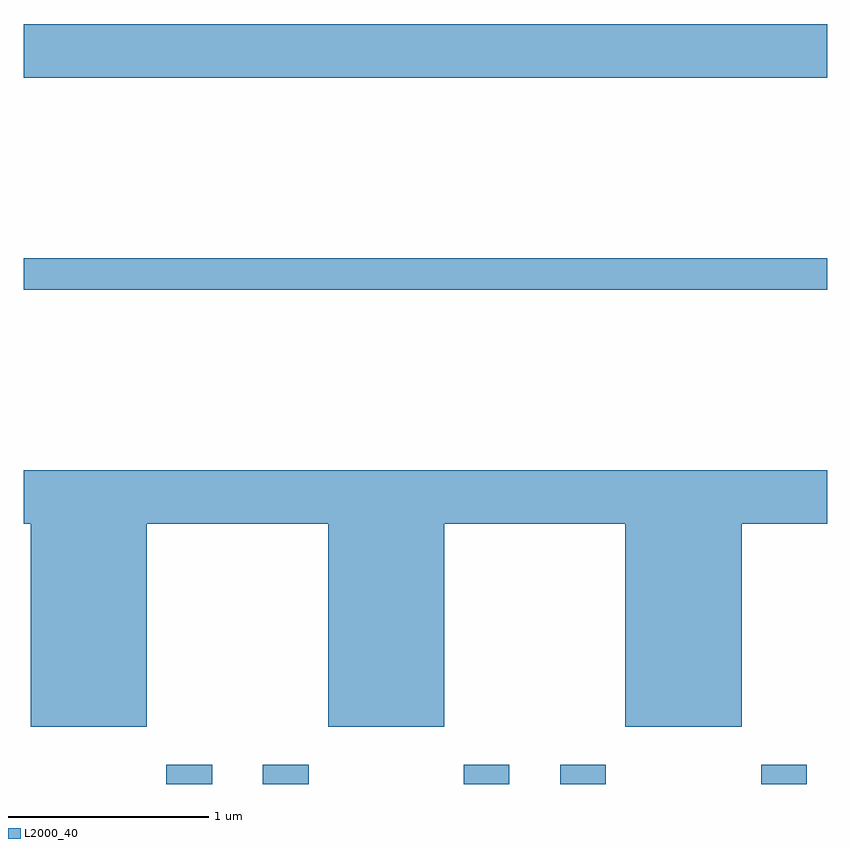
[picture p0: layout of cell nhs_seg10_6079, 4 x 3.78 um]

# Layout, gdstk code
import gdstk
lib = gdstk.Library(unit=1e-6, precision=1e-09)
def R(c, l, rs):  # rectangles x0, y0, x1, y1
    for r in rs: c.add(gdstk.rectangle(r[:2], r[2:], *l))
def P(c, l, *ps):  # polygons
    for p in ps: c.add(gdstk.Polygon(p, *l))
L2000_40 = (2000, 40)

nhs_seg10_6079 = lib.new_cell('nhs_seg10_6079')
R(nhs_seg10_6079, L2000_40, [(364.321,2212.522,364.549,2212.619), (364.801,2212.522,365.029,2212.619), (365.801,2212.522,366.029,2212.619), (366.281,2212.522,366.509,2212.619), (367.281,2212.522,367.509,2212.619), (363.611,2214.981,367.611,2215.139), (363.611,2216.036,367.611,2216.304)])
P(nhs_seg10_6079, L2000_40, [(363.611,2213.816),(363.646,2213.816),(363.646,2212.806),(364.224,2212.806),(364.224,2213.816),(365.126,2213.816),(365.126,2212.806),(365.704,2212.806),(365.704,2213.816),(366.606,2213.816),(366.606,2212.806),(367.184,2212.806),(367.184,2213.816),(367.611,2213.816),(367.611,2214.084),(363.611,2214.084)])

lib.write_gds('nhs_seg10_6079.gds')
